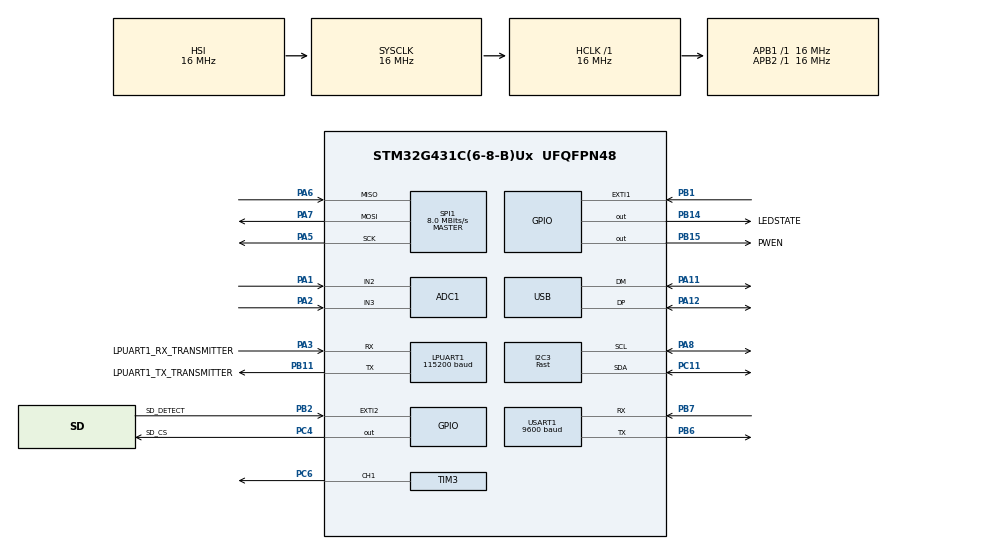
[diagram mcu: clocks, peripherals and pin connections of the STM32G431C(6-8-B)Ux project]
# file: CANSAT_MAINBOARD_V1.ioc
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ADC1.Channel-0\#ChannelRegularConversion=ADC_CHANNEL_VREFINT
ADC1.Channel-1\#ChannelRegularConversion=ADC_CHANNEL_2
ADC1.Channel-2\#ChannelRegularConversion=ADC_CHANNEL_3
ADC1.NbrOfConversion=3
ADC1.NbrOfConversionFlag=1
ADC1.OffsetNumber-0\#ChannelRegularConversion=ADC_OFFSET_NONE
ADC1.OffsetNumber-1\#ChannelRegularConversion=ADC_OFFSET_NONE
ADC1.OffsetNumber-2\#ChannelRegularConversion=ADC_OFFSET_NONE
ADC1.Rank-0\#ChannelRegularConversion=1
ADC1.Rank-1\#ChannelRegularConversion=2
ADC1.Rank-2\#ChannelRegularConversion=3
ADC1.SamplingTime-0\#ChannelRegularConversion=ADC_SAMPLETIME_640CYCLES_5
ADC1.SamplingTime-1\#ChannelRegularConversion=ADC_SAMPLETIME_640CYCLES_5
ADC1.SamplingTime-2\#ChannelRegularConversion=ADC_SAMPLETIME_640CYCLES_5
ADC1.master=1
Dma.LPUART1_TX.0.Direction=DMA_MEMORY_TO_PERIPH
Dma.LPUART1_TX.0.EventEnable=DISABLE
Dma.LPUART1_TX.0.Instance=DMA1_Channel1
Dma.LPUART1_TX.0.MemDataAlignment=DMA_MDATAALIGN_BYTE
Dma.LPUART1_TX.0.MemInc=DMA_MINC_ENABLE
Dma.LPUART1_TX.0.Mode=DMA_NORMAL
Dma.LPUART1_TX.0.PeriphDataAlignment=DMA_PDATAALIGN_BYTE
Dma.LPUART1_TX.0.PeriphInc=DMA_PINC_DISABLE
Dma.LPUART1_TX.0.Polarity=HAL_DMAMUX_REQ_GEN_RISING
Dma.LPUART1_TX.0.Priority=DMA_PRIORITY_LOW
Dma.LPUART1_TX.0.RequestNumber=1
Dma.LPUART1_TX.0.SignalID=NONE
Dma.LPUART1_TX.0.SyncEnable=DISABLE
Dma.LPUART1_TX.0.SyncPolarity=HAL_DMAMUX_SYNC_NO_EVENT
Dma.LPUART1_TX.0.SyncRequestNumber=1
Dma.LPUART1_TX.0.SyncSignalID=NONE
Dma.Request0=LPUART1_TX
Dma.Request1=USART1_RX
Dma.USART1_RX.1.Direction=DMA_PERIPH_TO_MEMORY
Dma.USART1_RX.1.EventEnable=DISABLE
Dma.USART1_RX.1.Instance=DMA1_Channel2
Dma.USART1_RX.1.MemDataAlignment=DMA_MDATAALIGN_BYTE
Dma.USART1_RX.1.MemInc=DMA_MINC_ENABLE
Dma.USART1_RX.1.Mode=DMA_NORMAL
Dma.USART1_RX.1.PeriphDataAlignment=DMA_PDATAALIGN_BYTE
Dma.USART1_RX.1.PeriphInc=DMA_PINC_DISABLE
Dma.USART1_RX.1.Polarity=HAL_DMAMUX_REQ_GEN_RISING
Dma.USART1_RX.1.Priority=DMA_PRIORITY_LOW
Dma.USART1_RX.1.RequestNumber=1
Dma.USART1_RX.1.SignalID=NONE
Dma.USART1_RX.1.SyncEnable=DISABLE
Dma.USART1_RX.1.SyncPolarity=HAL_DMAMUX_SYNC_NO_EVENT
Dma.USART1_RX.1.SyncRequestNumber=1
Dma.USART1_RX.1.SyncSignalID=NONE
I2C3.I2C_Speed_Mode=I2C_Fast
I2C3.Timing=0x0010061A
LPUART1.BaudRate=115200
Mcu.Family=STM32G4
Mcu.Name=STM32G431C(6-8-B)Ux
Mcu.Package=UFQFPN48
NVIC.ADC1_2_IRQn=true\:0\:0\:false\:false\:true\:true\:true\:true
NVIC.DMA1_Channel1_IRQn=true\:0\:0\:false\:false\:true\:false\:true\:true
NVIC.DMA1_Channel2_IRQn=true\:0\:0\:false\:false\:true\:false\:true\:true
NVIC.LPUART1_IRQn=true\:0\:0\:false\:false\:true\:true\:true\:true
NVIC.PriorityGroup=NVIC_PRIORITYGROUP_4
NVIC.SPI1_IRQn=true\:0\:0\:false\:false\:true\:true\:true\:true
NVIC.USART1_IRQn=true\:0\:0\:false\:false\:true\:true\:true\:true
NVIC.USB_LP_IRQn=true\:0\:0\:false\:false\:true\:false\:true\:true
PA1.Mode=IN2-Single-Ended
PA1.Signal=ADC1_IN2
PA11.Mode=Device
PA11.Signal=USB_DM
PA12.Mode=Device
PA12.Signal=USB_DP
PA13.Signal=SYS_JTMS-SWDIO
PA14.Signal=SYS_JTCK-SWCLK
PA2.Mode=IN3-Single-Ended
PA2.Signal=ADC1_IN3
PA3.GPIO_Label=LPUART1_RX_TRANSMITTER
PA3.Mode=Asynchronous
PA3.Signal=LPUART1_RX
PA5.Mode=Full_Duplex_Master
PA5.Signal=SPI1_SCK
PA6.Mode=Full_Duplex_Master
PA6.Signal=SPI1_MISO
PA7.Mode=Full_Duplex_Master
PA7.Signal=SPI1_MOSI
PA8.Mode=I2C
PA8.Signal=I2C3_SCL
PB1.Signal=GPXTI1
PB11.GPIO_Label=LPUART1_TX_TRANSMITTER
PB11.Mode=Asynchronous
PB11.Signal=LPUART1_TX
PB14.GPIO_Label=LEDSTATE
PB14.Signal=GPIO_Output
PB15.GPIO_Label=PWEN
PB15.Signal=GPIO_Output
PB2.GPIO_Label=SD_DETECT
PB2.Signal=GPXTI2
PB3.Signal=SYS_JTDO-SWO
PB6.Mode=Asynchronous
PB6.Signal=USART1_TX
PB7.Mode=Asynchronous
PB7.Signal=USART1_RX
PC11.Mode=I2C
PC11.Signal=I2C3_SDA
PC4.GPIO_Label=SD_CS
PC4.Signal=GPIO_Output
PC6.Signal=S_TIM3_CH1
PF0-OSC_IN.Mode=HSE-External-Oscillator
PF0-OSC_IN.Signal=RCC_OSC_IN
PF1-OSC_OUT.Mode=HSE-External-Oscillator
PF1-OSC_OUT.Signal=RCC_OSC_OUT
ProjectManager.HeapSize=0x200
ProjectManager.StackSize=0x400
ProjectManager.TargetToolchain=STM32CubeIDE
RCC.AHBFreq_Value=16000000
RCC.APB1Freq_Value=16000000
RCC.APB1TimFreq_Value=16000000
RCC.APB2Freq_Value=16000000
RCC.APB2TimFreq_Value=16000000
RCC.CortexFreq_Value=16000000
RCC.EXTERNAL_CLOCK_VALUE=12288000
RCC.HCLKFreq_Value=16000000
RCC.HSE_VALUE=8000000
RCC.HSI48_VALUE=48000000
RCC.HSI_VALUE=16000000
RCC.LSE_VALUE=32768
RCC.PLLN=12
RCC.PLLQ=RCC_PLLQ_DIV4
RCC.SYSCLKFreq_VALUE=16000000
RCC.USBFreq_Value=48000000
RCC.VCOOutputFreq_Value=192000000
SH.S_TIM3_CH1.0=TIM3_CH1,Output Compare1 CH1
SPI1.CalculateBaudRate=8.0 MBits/s
SPI1.Direction=SPI_DIRECTION_2LINES
SPI1.Mode=SPI_MODE_MASTER
SPI1.VirtualType=VM_MASTER
TIM3.Channel-Output\ Compare1\ CH1=TIM_CHANNEL_1
USART1.BaudRate=9600
USART1.VirtualMode-Asynchronous=VM_ASYNC
USB_DEVICE.CLASS_NAME_FS=CDC
USB_DEVICE.VirtualMode=Cdc
USB_DEVICE.VirtualModeFS=Cdc_FS
VP_ADC1_Vref_Input.Mode=IN-Vrefint
VP_SYS_VS_DBSignals.Mode=DisableDeadBatterySignals
VP_TIM3_VS_ClockSourceINT.Mode=Internal
VP_USB_DEVICE_VS_USB_DEVICE_CDC_FS.Mode=CDC_FS
board=custom

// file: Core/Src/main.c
/* USER CODE BEGIN Header */
/**
  ******************************************************************************
  * @file           : main.c
  * @brief          : Main program body
  ******************************************************************************
  * @attention
  *
  * Copyright (c) 2024 STMicroelectronics.
  * All rights reserved.
  *
  * This software is licensed under terms that can be found in the LICENSE file
  * in the root directory of this software component.
  * If no LICENSE file comes with this software, it is provided AS-IS.
  *
  ******************************************************************************
  */
/* USER CODE END Header */
#include "main.h"
#include "adc.h"
#include "dma.h"
#include "i2c.h"
#include "usart.h"
#include "spi.h"
#include "tim.h"
#include "usb_device.h"
#include "gpio.h"

/* USER CODE BEGIN Includes */
#include "nmea_parse.h"
/* USER CODE END Includes */

/* USER CODE BEGIN PD */
uint16_t oldPos;
uint16_t newPos;
uint8_t RxBuffer[RxBuffer_SIZE];
uint8_t DataBuffer[DataBuffer_SIZE];
uint16_t rawdata[3];
float vcurr=0;
float vrefint=0;
float vbat=0;
uint8_t flashwrite[256];
uint8_t flashread[256];
GPS myData;
uint8_t usbbuffer[64];
/* USER CODE END PD */

void SystemClock_Config(void);

int main(void)
{

  /* MCU Configuration--------------------------------------------------------*/

  /* Reset of all peripherals, Initializes the Flash interface and the Systick. */
  HAL_Init();

  /* Configure the system clock */
  SystemClock_Config();

  /* Initialize all configured peripherals */
  MX_GPIO_Init();
  MX_DMA_Init();
  MX_LPUART1_UART_Init();
  MX_USART1_UART_Init();
  MX_ADC1_Init();
  MX_SPI1_Init();
  MX_USB_Device_Init();
  MX_I2C3_Init();
  MX_TIM3_Init();
  /* USER CODE BEGIN 2 */

  	HAL_ADC_Start_DMA(&hadc1,(uint32_t*)rawdata, 3);

  	HAL_UART_Abort(&huart1);
  	HAL_UART_Receive_DMA(&huart1, (uint8_t *)RxBuffer, RxBuffer_SIZE);

  	memset(flashread,'1',256);
  	memset(flashwrite,'\0',256);

  	HAL_Delay(100);

  /* USER CODE END 2 */

  /* Infinite loop */
  /* USER CODE BEGIN WHILE */
  while (1)
  {

	  nmea_parse(&myData, DataBuffer);
	  int taillefin=0;
	  taillefin = snprintf((uint8_t *)usbbuffer,64,"v=%0.3f",myData.speed);
	  CDC_Transmit_FS((uint8_t *)usbbuffer,taillefin);

    /* USER CODE END WHILE */

  }
}

void SystemClock_Config(void)
{
  RCC_OscInitTypeDef RCC_OscInitStruct = {0};
  RCC_ClkInitTypeDef RCC_ClkInitStruct = {0};

  /** Configure the main internal regulator output voltage
  */
  HAL_PWREx_ControlVoltageScaling(PWR_REGULATOR_VOLTAGE_SCALE1);

  /** Initializes the RCC Oscillators according to the specified parameters
  * in the RCC_OscInitTypeDef structure.
  */
  RCC_OscInitStruct.OscillatorType = RCC_OSCILLATORTYPE_HSI;
  RCC_OscInitStruct.HSIState = RCC_HSI_ON;
  RCC_OscInitStruct.HSICalibrationValue = RCC_HSICALIBRATION_DEFAULT;
  RCC_OscInitStruct.PLL.PLLState = RCC_PLL_ON;
  RCC_OscInitStruct.PLL.PLLSource = RCC_PLLSOURCE_HSI;
  RCC_OscInitStruct.PLL.PLLM = RCC_PLLM_DIV1;
  RCC_OscInitStruct.PLL.PLLN = 12;
  RCC_OscInitStruct.PLL.PLLP = RCC_PLLP_DIV2;
  RCC_OscInitStruct.PLL.PLLQ = RCC_PLLQ_DIV4;
  RCC_OscInitStruct.PLL.PLLR = RCC_PLLR_DIV2;
  if (HAL_RCC_OscConfig(&RCC_OscInitStruct) != HAL_OK)
  {
    Error_Handler();
  }

  /** Initializes the CPU, AHB and APB buses clocks
  */
  RCC_ClkInitStruct.ClockType = RCC_CLOCKTYPE_HCLK|RCC_CLOCKTYPE_SYSCLK
                              |RCC_CLOCKTYPE_PCLK1|RCC_CLOCKTYPE_PCLK2;
  RCC_ClkInitStruct.SYSCLKSource = RCC_SYSCLKSOURCE_HSI;
  RCC_ClkInitStruct.AHBCLKDivider = RCC_SYSCLK_DIV1;
  RCC_ClkInitStruct.APB1CLKDivider = RCC_HCLK_DIV1;
  RCC_ClkInitStruct.APB2CLKDivider = RCC_HCLK_DIV1;

  if (HAL_RCC_ClockConfig(&RCC_ClkInitStruct, FLASH_LATENCY_0) != HAL_OK)
  {
    Error_Handler();
  }
}

void Error_Handler(void)
{
  __disable_irq();
  while (1)
  {
  }
}
